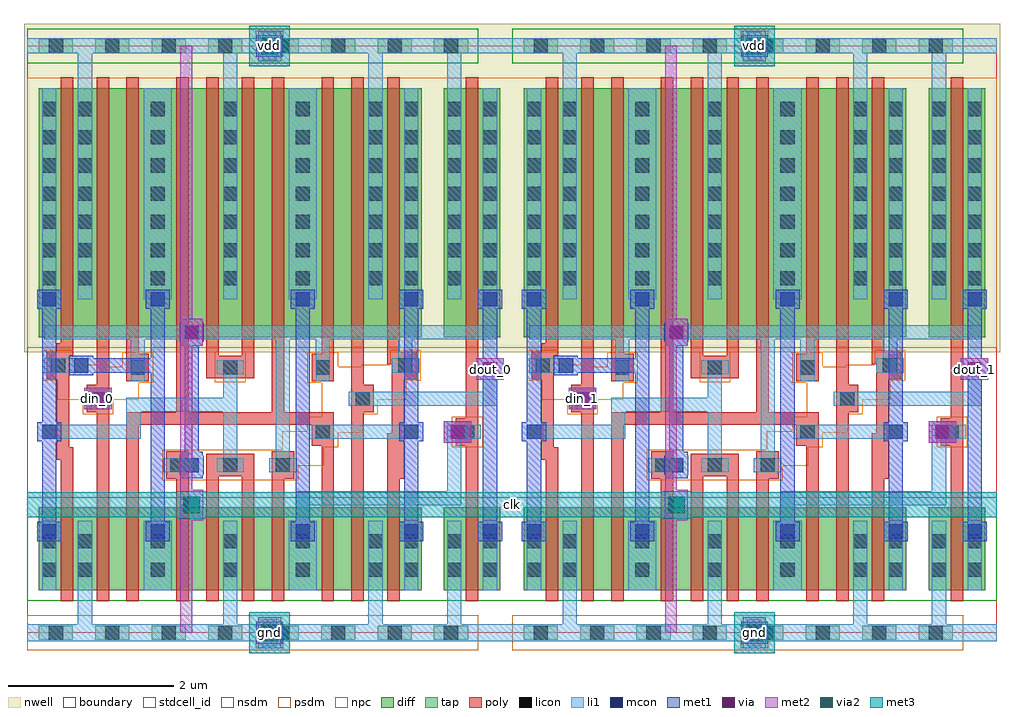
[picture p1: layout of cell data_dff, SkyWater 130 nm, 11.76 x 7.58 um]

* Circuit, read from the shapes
.subckt data_dff clk din_0 din_1 dout_0 dout_1 gnd vdd
XM1 gnd n1 n2 gnd sky130_fd_pr__nfet_01v8 w=1 l=0.15
XM2 n3 din_0 gnd gnd sky130_fd_pr__nfet_01v8 w=1 l=0.15
XM3 n1 n4 n3 gnd sky130_fd_pr__nfet_01v8 w=1 l=0.15
XM4 n5 clk n1 gnd sky130_fd_pr__nfet_01v8 w=1 l=0.15
XM5 gnd n2 n5 gnd sky130_fd_pr__nfet_01v8 w=1 l=0.15
XM6 n6 n2 gnd gnd sky130_fd_pr__nfet_01v8 w=1 l=0.15
XM7 dff_0/ON clk n6 gnd sky130_fd_pr__nfet_01v8 w=1 l=0.15
XM8 n7 n4 dff_0/ON gnd sky130_fd_pr__nfet_01v8 w=1 l=0.15
XM9 gnd dout_0 n7 gnd sky130_fd_pr__nfet_01v8 w=1 l=0.15
XM10 n4 clk gnd gnd sky130_fd_pr__nfet_01v8 w=1 l=0.15
XM11 dout_0 dff_0/ON gnd gnd sky130_fd_pr__nfet_01v8 w=1 l=0.15
XM12 gnd n8 n9 gnd sky130_fd_pr__nfet_01v8 w=1 l=0.15
XM13 n10 din_1 gnd gnd sky130_fd_pr__nfet_01v8 w=1 l=0.15
XM14 n8 n11 n10 gnd sky130_fd_pr__nfet_01v8 w=1 l=0.15
XM15 n12 clk n8 gnd sky130_fd_pr__nfet_01v8 w=1 l=0.15
XM16 gnd n9 n12 gnd sky130_fd_pr__nfet_01v8 w=1 l=0.15
XM17 n13 n9 gnd gnd sky130_fd_pr__nfet_01v8 w=1 l=0.15
XM18 dff_1/ON clk n13 gnd sky130_fd_pr__nfet_01v8 w=1 l=0.15
XM19 n14 n11 dff_1/ON gnd sky130_fd_pr__nfet_01v8 w=1 l=0.15
XM20 gnd dout_1 n14 gnd sky130_fd_pr__nfet_01v8 w=1 l=0.15
XM21 n11 clk gnd gnd sky130_fd_pr__nfet_01v8 w=1 l=0.15
XM22 dout_1 dff_1/ON gnd gnd sky130_fd_pr__nfet_01v8 w=1 l=0.15
XM23 vdd n1 n2 vdd sky130_fd_pr__pfet_01v8 w=3 l=0.15
XM24 n15 din_0 vdd vdd sky130_fd_pr__pfet_01v8 w=3 l=0.15
XM25 n1 clk n15 vdd sky130_fd_pr__pfet_01v8 w=3 l=0.15
XM26 n16 n4 n1 vdd sky130_fd_pr__pfet_01v8 w=3 l=0.15
XM27 vdd n2 n16 vdd sky130_fd_pr__pfet_01v8 w=3 l=0.15
XM28 n17 n2 vdd vdd sky130_fd_pr__pfet_01v8 w=3 l=0.15
XM29 dff_0/ON n4 n17 vdd sky130_fd_pr__pfet_01v8 w=3 l=0.15
XM30 n18 clk dff_0/ON vdd sky130_fd_pr__pfet_01v8 w=3 l=0.15
XM31 vdd dout_0 n18 vdd sky130_fd_pr__pfet_01v8 w=3 l=0.15
XM32 n4 clk vdd vdd sky130_fd_pr__pfet_01v8 w=3 l=0.15
XM33 dout_0 dff_0/ON vdd vdd sky130_fd_pr__pfet_01v8 w=3 l=0.15
XM34 vdd n8 n9 vdd sky130_fd_pr__pfet_01v8 w=3 l=0.15
XM35 n19 din_1 vdd vdd sky130_fd_pr__pfet_01v8 w=3 l=0.15
XM36 n8 clk n19 vdd sky130_fd_pr__pfet_01v8 w=3 l=0.15
XM37 n20 n11 n8 vdd sky130_fd_pr__pfet_01v8 w=3 l=0.15
XM38 vdd n9 n20 vdd sky130_fd_pr__pfet_01v8 w=3 l=0.15
XM39 n21 n9 vdd vdd sky130_fd_pr__pfet_01v8 w=3 l=0.15
XM40 dff_1/ON n11 n21 vdd sky130_fd_pr__pfet_01v8 w=3 l=0.15
XM41 n22 clk dff_1/ON vdd sky130_fd_pr__pfet_01v8 w=3 l=0.15
XM42 vdd dout_1 n22 vdd sky130_fd_pr__pfet_01v8 w=3 l=0.15
XM43 n11 clk vdd vdd sky130_fd_pr__pfet_01v8 w=3 l=0.15
XM44 dout_1 dff_1/ON vdd vdd sky130_fd_pr__pfet_01v8 w=3 l=0.15
.ends

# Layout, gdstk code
import gdstk
lib = gdstk.Library(unit=1e-6, precision=1e-09)
def R(c, l, rs):  # rectangles x0, y0, x1, y1
    for r in rs: c.add(gdstk.rectangle(r[:2], r[2:], *l))
def A(c, l, x, y, w, h, nx, ny, dx, dy):  # array of equal rectangles
    R(c, l, [(x+i*dx, y+j*dy, x+i*dx+w, y+j*dy+h) for i in range(nx) for j in range(ny)])
nwell = (64, 20)
diff = (65, 20)
tap = (65, 44)
poly = (66, 20)
licon = (66, 44)
li1 = (67, 20)
mcon = (67, 44)
met1 = (68, 20)
via = (68, 44)
met2 = (69, 20)
via2 = (69, 44)
met3 = (70, 20)
stdcell_id = (81, 4)
nsdm = (93, 44)
psdm = (94, 20)
npc = (95, 20)
boundary = (235, 4)

dff = lib.new_cell('dff')
R(dff, nwell, [(-0.04,3.38,5.88,7.335)])
R(dff, diff, [(0.14,0.51,4.75,1.51), (5.02,0.51,5.7,1.51), (0.14,3.56,4.75,6.56), (5.02,3.56,5.7,6.56)])
A(dff, tap, 0.14, -0.085, 0.41, 0.17, 8, 2, 0.68, 7.07)
R(dff, poly, [(0.405,0.38,0.555,2.085), (0.835,0.38,0.985,2.655), (1.195,0.38,1.345,2.505), (1.795,0.38,1.945,1.855), (2.155,0.38,2.305,1.885), (2.585,0.38,2.735,1.885), (2.945,0.38,3.095,1.855), (3.545,0.38,3.695,2.255), (3.905,0.38,4.055,2.655), (4.335,0.38,4.485,1.855), (5.285,0.38,5.435,2.255), (1.675,1.855,1.945,2.185), (2.945,1.855,3.215,2.185), (4.335,1.855,4.54,2.405), (2.155,1.885,2.735,2.155), (0.355,2.085,0.555,2.235), (0.355,2.235,0.505,3.055), (3.425,2.255,3.695,2.505), (5.165,2.255,5.435,2.585), (4.39,2.405,4.54,3.055), (1.195,2.505,3.695,2.655), (5.285,2.585,5.435,6.69), (0.715,2.655,0.985,2.985), (1.795,2.655,1.945,6.69), (2.945,2.655,3.095,6.69), (3.905,2.655,4.175,2.985), (0.835,2.985,0.985,6.69), (3.905,2.985,4.055,6.69), (1.195,3.03,1.465,3.36), (3.425,3.03,3.695,3.36), (0.235,3.055,0.505,3.335), (4.39,3.055,4.69,3.235), (2.155,3.065,2.735,3.335), (4.335,3.235,4.69,3.385), (0.235,3.335,0.555,3.385), (2.155,3.335,2.305,6.69), (2.585,3.335,2.735,6.69), (1.195,3.36,1.345,6.69), (3.545,3.36,3.695,6.69), (0.35,3.385,0.555,3.485), (4.335,3.385,4.485,6.69), (0.405,3.485,0.555,6.69)])
A(dff, licon, 0.26, -0.085, 0.17, 0.17, 8, 2, 0.68, 7.07)
A(dff, licon, 0.61, 0.675, 0.17, 0.17, 5, 2, 0.875, 0.34)
A(dff, licon, 1.725, 1.935, 0.17, 0.17, 3, 1, 0.635, 0)
A(dff, licon, 0.18, 4.185, 0.17, 0.17, 1, 7, 0, 0.34)
A(dff, licon, 0.61, 4.185, 0.17, 0.17, 5, 7, 0.875, 0.34)
A(dff, licon, 4.54, 4.185, 0.17, 0.17, 1, 7, 0, 0.34)
A(dff, licon, 5.06, 4.185, 0.17, 0.17, 1, 7, 0, 0.34)
A(dff, licon, 5.49, 4.185, 0.17, 0.17, 1, 7, 0, 0.34)
R(dff, licon, [(0.18,0.675,0.35,0.845), (4.54,0.675,4.71,0.845), (5.06,0.675,5.23,0.845), (5.49,0.675,5.66,0.845), (0.18,1.015,0.35,1.185), (4.54,1.015,4.71,1.185), (5.06,1.015,5.23,1.185), (5.49,1.015,5.66,1.185), (3.475,2.335,3.645,2.505), (5.215,2.335,5.385,2.505), (0.765,2.735,0.935,2.905), (3.955,2.735,4.125,2.905), (1.245,3.11,1.415,3.28), (3.475,3.11,3.645,3.28), (2.36,3.115,2.53,3.285), (0.285,3.135,0.455,3.305), (4.47,3.135,4.64,3.305)])
A(dff, li1, 0.61, 0.1, 0.17, 1.25, 3, 1, 1.75, 0)
A(dff, li1, 0.61, 4.02, 0.17, 2.96, 3, 1, 1.75, 0)
R(dff, li1, [(0,-0.1,5.84,0.1), (0,-0.1,5.84,0.1), (5.06,0.1,5.23,1.35), (0.18,0.51,0.35,1.35), (1.4,0.51,1.74,1.35), (3.15,0.51,3.49,1.35), (4.54,0.51,4.71,1.355), (5.49,0.51,5.66,1.355), (3.235,1.35,3.405,1.535), (3.235,1.535,5.23,1.705), (5.06,1.705,5.23,2.335), (1.64,1.935,2.065,2.105), (2.28,1.935,2.61,2.105), (2.915,1.935,3.245,2.105), (2.36,2.105,2.53,2.66), (2.995,2.105,3.165,3.535), (0.18,2.335,1.365,2.505), (3.395,2.335,4.71,2.505), (5.06,2.335,5.465,2.505), (1.195,2.505,1.365,2.66), (1.195,2.66,2.53,2.83), (0.685,2.735,1.015,2.905), (3.875,2.735,5.66,2.905), (2.36,2.83,2.53,3.115), (5.49,2.905,5.66,3.26), (1.245,3.03,1.415,3.535), (3.475,3.03,3.645,3.535), (2.28,3.115,2.61,3.285), (0.205,3.135,0.735,3.305), (4.39,3.135,4.72,3.305), (4.47,3.305,4.64,3.535), (0.205,3.535,5.66,3.705), (0.18,3.935,0.35,6.56), (1.485,3.935,1.655,4.02), (3.235,3.935,3.405,4.02), (4.54,3.935,4.71,6.56), (5.49,3.935,5.66,6.56), (1.4,4.02,1.74,6.56), (3.15,4.02,3.49,6.56), (5.06,4.02,5.23,6.98), (0,6.98,5.84,7.16), (0,6.98,5.84,7.16)])
R(dff, mcon, [(0.18,1.135,0.35,1.305), (1.485,1.135,1.655,1.305), (3.235,1.135,3.405,1.305), (4.54,1.135,4.71,1.305), (5.49,1.135,5.66,1.305), (1.895,1.935,2.065,2.105), (0.18,2.335,0.35,2.505), (4.54,2.335,4.71,2.505), (5.1,2.335,5.27,2.505), (0.765,2.735,0.935,2.905), (5.49,3.09,5.66,3.26), (0.565,3.135,0.735,3.305), (1.895,3.535,2.065,3.705), (0.18,3.935,0.35,4.105), (1.485,3.935,1.655,4.105), (3.235,3.935,3.405,4.105), (4.54,3.935,4.71,4.105), (5.49,3.935,5.66,4.105)])
R(dff, met1, [(0.12,1.105,0.41,1.335), (1.425,1.105,1.715,1.335), (3.175,1.105,3.465,1.335), (4.48,1.105,4.77,1.335), (5.43,1.105,5.72,1.335), (0.18,1.335,0.35,2.305), (1.485,1.335,1.655,3.135), (3.235,1.335,3.405,3.905), (4.54,1.335,4.71,2.305), (5.49,1.335,5.66,3.045), (1.845,1.86,2.115,1.905), (1.835,1.905,2.125,2.135), (1.845,2.135,2.115,2.18), (1.895,2.18,2.065,3.46), (5.02,2.29,5.35,2.55), (0.12,2.305,0.41,2.535), (4.48,2.305,4.77,2.535), (0.18,2.535,0.35,3.905), (4.54,2.535,4.71,3.905), (0.685,2.69,1.015,2.95), (5.41,3.045,5.74,3.305), (0.505,3.105,0.795,3.135), (0.505,3.135,1.655,3.305), (0.505,3.305,0.795,3.335), (1.485,3.305,1.655,3.905), (5.49,3.305,5.66,3.905), (1.845,3.46,2.115,3.505), (1.835,3.505,2.125,3.735), (1.845,3.735,2.115,3.78), (0.12,3.905,0.41,4.135), (1.425,3.905,1.715,4.135), (3.175,3.905,3.465,4.135), (4.48,3.905,4.77,4.135), (5.43,3.905,5.72,4.135)])
R(dff, via, [(5.11,2.345,5.26,2.495), (0.775,2.745,0.925,2.895), (5.5,3.1,5.65,3.25), (1.905,3.545,2.055,3.695)])
R(dff, met2, [(5.02,2.29,5.35,2.55), (0.685,2.69,1.015,2.95), (0.685,2.69,1.015,2.95), (5.41,3.045,5.74,3.305), (5.41,3.045,5.74,3.305), (1.845,3.46,2.115,3.78), (1.845,3.46,2.115,3.78)])
R(dff, stdcell_id, [(0,0,5.84,7.07)])
R(dff, nsdm, [(0,0.385,5.84,1.635), (0,6.86,5.435,7.07), (0,7.07,5.435,7.28)])
R(dff, psdm, [(0,-0.21,5.435,0), (0,0,5.435,0.21), (0,3.435,5.84,6.685)])
R(dff, npc, [(1.625,1.835,3.265,2.01), (1.625,2.01,3.57,2.205), (3.07,2.205,3.57,2.235), (3.07,2.235,3.745,2.41), (5.115,2.235,5.485,2.605), (3.07,2.41,4.05,2.43), (3.375,2.43,4.05,2.605), (3.55,2.605,4.05,2.635), (0.665,2.635,1.035,2.81), (3.55,2.635,4.225,2.81), (0.36,2.81,1.34,3.01), (3.55,2.81,4.565,3.01), (0.36,3.01,1.515,3.035), (3.375,3.01,4.565,3.035), (2.26,3.015,2.63,3.385), (0.185,3.035,1.515,3.205), (3.375,3.035,4.74,3.205), (0.185,3.205,0.86,3.23), (1.145,3.205,1.515,3.38), (3.375,3.205,3.745,3.38), (4.03,3.205,4.74,3.23), (0.185,3.23,0.555,3.405), (4.37,3.23,4.74,3.405)])
R(dff, boundary, [(0,0,5.84,7.07)])
dff.add(gdstk.Label('gnd', (2.72,0), layer=67, texttype=20))
dff.add(gdstk.Label('vdd', (2.74,7.08), layer=67, texttype=20))
dff.add(gdstk.Label('Q', (5.73,3.295), layer=69, texttype=16))
dff.add(gdstk.Label('clk', (2.095,3.765), layer=69, texttype=16))
dff.add(gdstk.Label('ON', (5.035,2.52), layer=69, texttype=16))
dff.add(gdstk.Label('D', (0.695,2.93), layer=69, texttype=16))
dff.add(gdstk.Label('clk', (1.98,3.62), layer=69, texttype=16))
dff.add(gdstk.Label('gnd', (2.92,0), layer=67, texttype=16))
dff.add(gdstk.Label('Q', (5.575,3.175), layer=69, texttype=16))
dff.add(gdstk.Label('vdd', (2.92,7.07), layer=67, texttype=16))
dff.add(gdstk.Label('D', (0.85,2.82), layer=69, texttype=16))

contact_7 = lib.new_cell('contact_7')
R(contact_7, li1, [(0.06,0,0.23,0.33)])
R(contact_7, mcon, [(0.06,0.08,0.23,0.25)])
R(contact_7, met1, [(0,0.05,0.29,0.28)])
R(contact_7, stdcell_id, [(0,0,0.29,0.33)])
R(contact_7, boundary, [(0,0,0.29,0.33)])

contact_8 = lib.new_cell('contact_8')
R(contact_8, met1, [(0,0.03,0.32,0.29)])
R(contact_8, via, [(0.085,0.085,0.235,0.235)])
R(contact_8, met2, [(0.03,0,0.29,0.32)])
R(contact_8, stdcell_id, [(0,0,0.32,0.32)])
R(contact_8, boundary, [(0,0,0.32,0.32)])

contact_9 = lib.new_cell('contact_9')
R(contact_9, met2, [(0.025,0,0.305,0.37)])
R(contact_9, via2, [(0.065,0.085,0.265,0.285)])
R(contact_9, met3, [(0,0.02,0.33,0.35)])
R(contact_9, stdcell_id, [(0,0,0.33,0.37)])
R(contact_9, boundary, [(0,0,0.33,0.37)])

data_dff = lib.new_cell('data_dff')
R(data_dff, met1, [(2.76,-0.13,3.08,0.13), (8.6,-0.13,8.92,0.13), (2.76,6.94,3.08,7.2), (8.6,6.94,8.92,7.2)])
R(data_dff, met2, [(2.78,-0.12,3.06,0.12), (8.62,-0.12,8.9,0.12), (1.845,0,1.985,7.07), (7.685,0,7.825,7.07), (0.685,2.69,1.015,2.95), (6.525,2.69,6.855,2.95), (5.41,3.045,5.74,3.305), (11.25,3.045,11.58,3.305), (2.78,6.95,3.06,7.19), (8.62,6.95,8.9,7.19)])
R(data_dff, met3, [(2.675,-0.245,3.165,0.245), (8.515,-0.245,9.005,0.245), (0,1.39,11.68,1.69), (2.675,6.825,3.165,7.315), (8.515,6.825,9.005,7.315)])
R(data_dff, stdcell_id, [(0,0,11.68,7.07)])
R(data_dff, boundary, [(0,0,11.68,7.07)])
data_dff.add(gdstk.Reference(dff, (0,0)))
data_dff.add(gdstk.Reference(dff, (5.84,0)))
data_dff.add(gdstk.Reference(contact_7, (2.775,6.905)))
data_dff.add(gdstk.Reference(contact_8, (2.76,6.91)))
data_dff.add(gdstk.Reference(contact_9, (2.755,6.885)))
data_dff.add(gdstk.Reference(contact_7, (2.775,-0.165)))
data_dff.add(gdstk.Reference(contact_8, (2.76,-0.16)))
data_dff.add(gdstk.Reference(contact_9, (2.755,-0.185)))
data_dff.add(gdstk.Reference(contact_7, (8.615,6.905)))
data_dff.add(gdstk.Reference(contact_8, (8.6,6.91)))
data_dff.add(gdstk.Reference(contact_9, (8.595,6.885)))
data_dff.add(gdstk.Reference(contact_7, (8.615,-0.165)))
data_dff.add(gdstk.Reference(contact_8, (8.6,-0.16)))
data_dff.add(gdstk.Reference(contact_9, (8.595,-0.185)))
data_dff.add(gdstk.Reference(contact_9, (1.815,1.355)))
data_dff.add(gdstk.Reference(contact_9, (7.655,1.355)))
data_dff.add(gdstk.Label('clk', (5.84,1.54), layer=70, texttype=16))
data_dff.add(gdstk.Label('gnd', (2.92,0), layer=70, texttype=16))
data_dff.add(gdstk.Label('gnd', (8.76,0), layer=70, texttype=16))
data_dff.add(gdstk.Label('dout_0', (5.575,3.175), layer=69, texttype=16))
data_dff.add(gdstk.Label('din_1', (6.69,2.82), layer=69, texttype=16))
data_dff.add(gdstk.Label('dout_1', (11.415,3.175), layer=69, texttype=16))
data_dff.add(gdstk.Label('vdd', (2.92,7.07), layer=70, texttype=16))
data_dff.add(gdstk.Label('vdd', (8.76,7.07), layer=70, texttype=16))
data_dff.add(gdstk.Label('din_0', (0.85,2.82), layer=69, texttype=16))

lib.write_gds('data_dff.gds')
